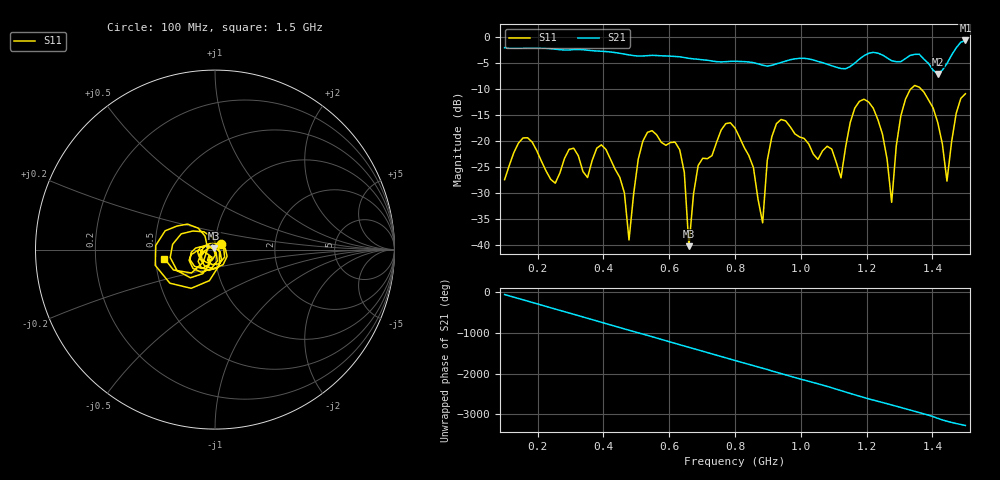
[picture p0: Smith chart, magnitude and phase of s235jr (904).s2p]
! NanoVNA-App
! Date: 2025-09-25 15:11:12
! Start: 100MHz Stop: 1,5GHz Points: 101
! S-Parameter data: F S11 S21 S12 S22
# Hz S RI R 50
!  Frequency  S11_Real  S11_Imag  S21_Real  S21_Imag  S12_Real  S12_Imag  S22_Real  S22_Imag
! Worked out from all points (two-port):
!   101 points, 100 MHz to 1.5 GHz, reference 50 ohm
!   highest |S21| = -0.57 dB at 1.5 GHz (marker M1); lowest = -7.1 dB at 1.416 GHz (marker M2)
!   |S21| within 3 dB of the highest: start of sweep to 504.6 MHz; 520.4 MHz to 593.3 MHz (72.89 MHz wide, 13.1 % of centre) (the widest 2 of 5)
!   lowest |S11| = -40.3 dB at 660 MHz (marker M3), VSWR 1.02, Z = 49.3 + j0.626 ohm
!   |S11| at or under -10 dB: start of sweep to 1.333 GHz; 1.366 GHz to end of sweep
!   S12 and S22 are empty: the file has one direction only
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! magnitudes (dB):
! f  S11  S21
! 100 MHz  -27.5  -2.0
! 156 MHz  -19.4  -2.0
! 338 MHz  -25.9  -2.4
! 408 MHz  -21.7  -2.7
! 478 MHz  -39.1  -3.4
! 520 MHz  -20.0  -3.6
! 576 MHz  -20.3  -3.5
! 632 MHz  -21.7  -3.7
! 660 MHz  -40.3  -4.0
! 688 MHz  -24.7  -4.2
! 800 MHz  -17.5  -4.6
! 884 MHz  -35.8  -5.4
! 926 MHz  -16.6  -5.1
! 1.038 GHz  -22.5  -4.3
! 1.122 GHz  -27.1  -6.0
! 1.164 GHz  -13.6  -4.9
! 1.206 GHz  -12.5  -3.1
! 1.276 GHz  -31.8  -4.5
! 1.332 GHz  -10.1  -3.5
! 1.416 GHz  -16.4  -7.1
! 1.444 GHz  -27.7  -5.0
! 1.5 GHz  -10.9  -0.6
